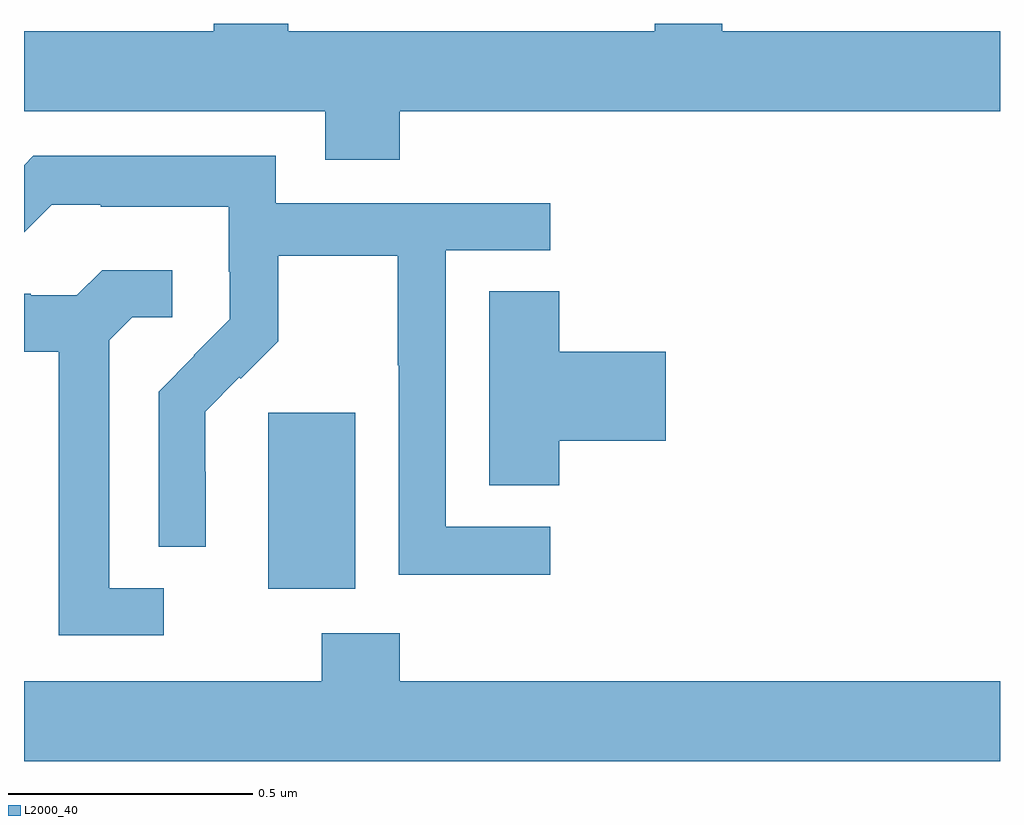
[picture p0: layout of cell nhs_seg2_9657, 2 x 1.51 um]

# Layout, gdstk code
import gdstk
lib = gdstk.Library(unit=1e-6, precision=1e-09)
def R(c, l, rs):  # rectangles x0, y0, x1, y1
    for r in rs: c.add(gdstk.rectangle(r[:2], r[2:], *l))
def P(c, l, *ps):  # polygons
    for p in ps: c.add(gdstk.Polygon(p, *l))
L2000_40 = (2000, 40)

nhs_seg2_9657 = lib.new_cell('nhs_seg2_9657')
R(nhs_seg2_9657, L2000_40, [(231.5,662.642,231.679,663.003)])
P(nhs_seg2_9657, L2000_40, [(231.77,663.62),(233,663.62),(233,663.784),(232.431,663.784),(232.431,663.8),(232.293,663.8),(232.293,663.784),(231.541,663.784),(231.541,663.8),(231.389,663.8),(231.389,663.784),(231,663.784),(231,663.62),(231.617,663.62),(231.617,663.521),(231.77,663.521)],
  [(232.078,662.769),(231.864,662.769),(231.864,663.336),(232.078,663.336),(232.078,663.432),(231.516,663.432),(231.516,663.529),(231.019,663.529),(231,663.51),(231,663.372),(231.057,663.429),(231.157,663.429),(231.157,663.425),(231.42,663.425),(231.42,663.291),(231.422,663.291),(231.422,663.194),(231.348,663.12),(231.349,663.119),(231.276,663.046),(231.276,662.728),(231.372,662.728),(231.372,662.882),(231.371,662.882),(231.371,663.005),(231.441,663.075),(231.444,663.072),(231.521,663.149),(231.521,663.324),(231.766,663.324),(231.766,663.1),(231.768,663.1),(231.768,662.671),(232.078,662.671)],
  [(231.286,662.643),(231.175,662.643),(231.175,663.151),(231.222,663.198),(231.304,663.198),(231.304,663.295),(231.16,663.295),(231.108,663.243),(231.014,663.243),(231.014,663.246),(231,663.246),(231,663.128),(231.071,663.128),(231.071,662.547),(231.286,662.547)],
  [(232.097,662.945),(232.315,662.945),(232.315,663.128),(232.097,663.128),(232.097,663.251),(231.953,663.251),(231.953,662.854),(232.097,662.854)],
  [(233,662.452),(231.77,662.452),(231.77,662.551),(231.61,662.551),(231.61,662.452),(231,662.452),(231,662.288),(233,662.288)])

lib.write_gds('nhs_seg2_9657.gds')
